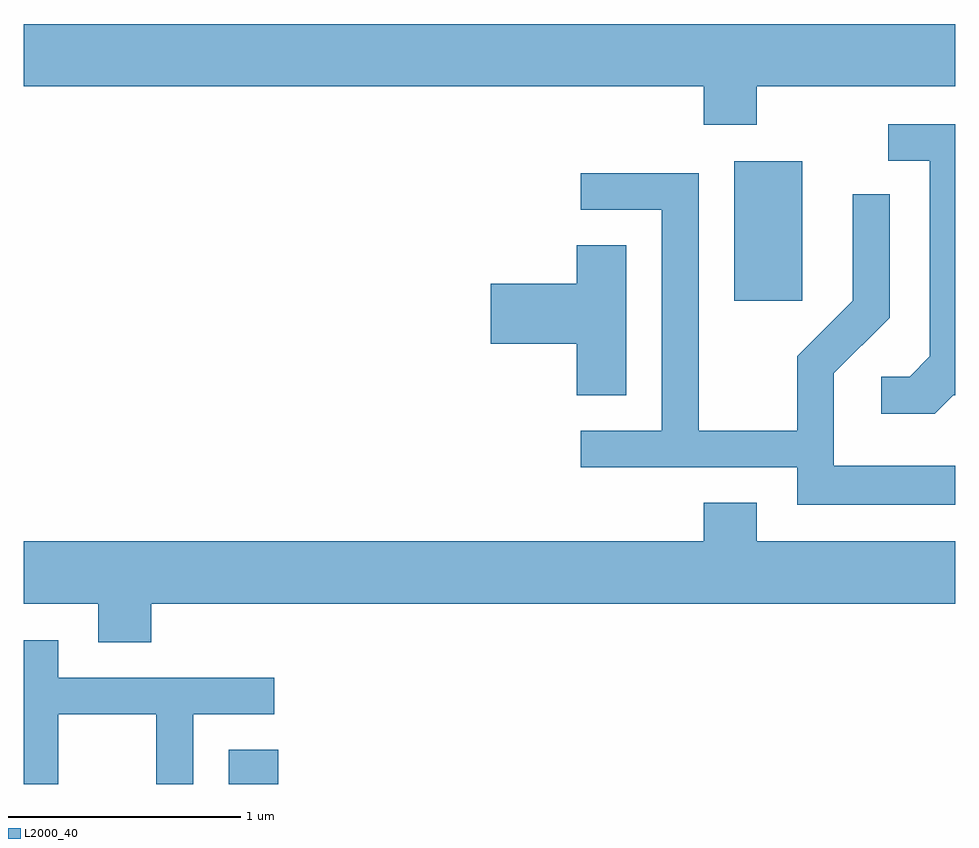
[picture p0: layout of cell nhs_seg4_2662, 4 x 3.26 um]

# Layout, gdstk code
import gdstk
lib = gdstk.Library(unit=1e-6, precision=1e-09)
def R(c, l, rs):  # rectangles x0, y0, x1, y1
    for r in rs: c.add(gdstk.rectangle(r[:2], r[2:], *l))
def P(c, l, *ps):  # polygons
    for p in ps: c.add(gdstk.Polygon(p, *l))
L2000_40 = (2000, 40)

nhs_seg4_2662 = lib.new_cell('nhs_seg4_2662')
R(nhs_seg4_2662, L2000_40, [(264.491,1273.982,264.704,1274.129), (266.661,1276.056,266.954,1276.654)])
P(nhs_seg4_2662, L2000_40, [(266.759,1276.976),(267.611,1276.976),(267.611,1277.244),(263.611,1277.244),(263.611,1276.976),(266.531,1276.976),(266.531,1276.811),(266.759,1276.811)],
  [(267.602,1275.651),(267.611,1275.651),(267.611,1276.814),(267.323,1276.814),(267.323,1276.656),(267.501,1276.656),(267.501,1275.817),(267.414,1275.729),(267.293,1275.729),(267.293,1275.571),(267.522,1275.571)],
  [(267.611,1275.349),(267.089,1275.349),(267.089,1275.744),(267.329,1275.984),(267.329,1276.513),(267.171,1276.513),(267.171,1276.057),(266.931,1275.817),(266.931,1275.499),(266.509,1275.499),(266.509,1276.604),(266.003,1276.604),(266.003,1276.446),(266.351,1276.446),(266.351,1275.499),(266.003,1275.499),(266.003,1275.341),(266.931,1275.341),(266.931,1275.181),(267.611,1275.181)],
  [(266.199,1276.294),(265.986,1276.294),(265.986,1276.129),(265.616,1276.129),(265.616,1275.871),(265.986,1275.871),(265.986,1275.651),(266.199,1275.651)],
  [(264.159,1274.756),(267.611,1274.756),(267.611,1275.024),(266.759,1275.024),(266.759,1275.189),(266.531,1275.189),(266.531,1275.024),(263.611,1275.024),(263.611,1274.756),(263.931,1274.756),(263.931,1274.591),(264.159,1274.591)],
  [(263.759,1274.281),(264.181,1274.281),(264.181,1273.982),(264.339,1273.982),(264.339,1274.281),(264.688,1274.281),(264.688,1274.439),(263.759,1274.439),(263.759,1274.599),(263.611,1274.599),(263.611,1273.982),(263.759,1273.982)])

lib.write_gds('nhs_seg4_2662.gds')
